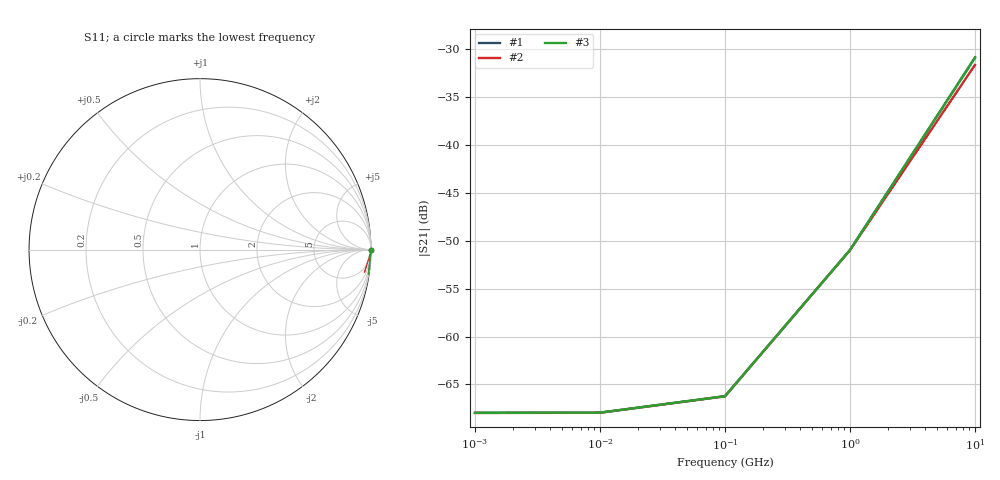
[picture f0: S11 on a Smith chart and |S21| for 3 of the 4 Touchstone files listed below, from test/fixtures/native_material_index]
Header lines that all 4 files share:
! Sonnet Data File
! From: em Version : 18.53-Lite
! Data is NOT De-embedded
# GHZ S RI R 50.00000
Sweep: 1 MHz to 10 GHz
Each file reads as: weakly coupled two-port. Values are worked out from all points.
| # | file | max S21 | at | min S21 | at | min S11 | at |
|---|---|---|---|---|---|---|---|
| 1 | e3b_sheet_m1_raw.s2p | -30.90 dB | 10 GHz | -68.0 dB | 1 MHz | 0.0 dB | 10 GHz |
| 2 | e3c_sheet_res_raw.s2p | -31.62 dB | 10 GHz | -68.0 dB | 1 MHz | -0.2 dB | 10 GHz |
| 3 | e3c_tmet_m1_raw.s2p | -30.81 dB | 10 GHz | -68.0 dB | 1 MHz | 0.0 dB | 10 GHz |
| 4 | e3c_tmet_nat_raw.s2p | -30.81 dB | 10 GHz | -68.0 dB | 1 MHz | 0.0 dB | 10 GHz |
